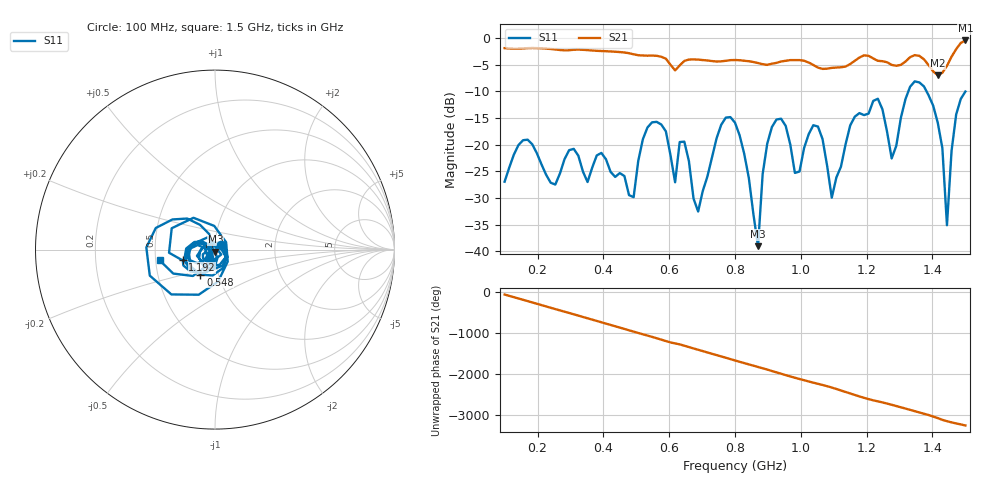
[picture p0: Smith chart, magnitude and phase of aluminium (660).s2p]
! NanoVNA-App
! Date: 2025-09-25 15:00:25
! Start: 100MHz Stop: 1,5GHz Points: 101
! S-Parameter data: F S11 S21 S12 S22
# Hz S RI R 50
!  Frequency  S11_Real  S11_Imag  S21_Real  S21_Imag  S12_Real  S12_Imag  S22_Real  S22_Imag
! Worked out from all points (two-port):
!   101 points, 100 MHz to 1.5 GHz, reference 50 ohm
!   highest |S21| = -0.48 dB at 1.5 GHz (marker M1); lowest = -7.0 dB at 1.416 GHz (marker M2)
!   |S21| within 3 dB of the highest: start of sweep to 571.7 MHz; 1.458 GHz to end of sweep (the widest 2 of 4)
!   lowest |S11| = -39.0 dB at 870 MHz (marker M3), VSWR 1.02, Z = 50.2 - j1.11 ohm
!   |S11| at or under -10 dB: start of sweep to 1.327 GHz; 1.382 GHz to end of sweep
!   S12 and S22 are empty: the file has one direction only
!   S11 on the Smith chart (normalised r, x): 100 MHz: 1.07, +0.06; 548 MHz: 0.82, -0.23; 1.192 GHz: 0.69, -0.08; 1.5 GHz: 0.53, -0.07
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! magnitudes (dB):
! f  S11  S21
! 100 MHz  -27.0  -1.9
! 156 MHz  -19.2  -2.0
! 338 MHz  -25.1  -2.2
! 492 MHz  -29.9  -3.1
! 548 MHz  -15.8  -3.3
! 576 MHz  -16.2  -3.5
! 646 MHz  -19.5  -4.3
! 688 MHz  -32.5  -4.1
! 800 MHz  -15.9  -4.1
! 870 MHz  -39.0  -4.7
! 912 MHz  -16.7  -4.8
! 982 MHz  -25.3  -4.2
! 1.038 GHz  -16.4  -5.1
! 1.094 GHz  -30.0  -5.6
! 1.192 GHz  -14.5  -3.3
! 1.234 GHz  -11.4  -4.3
! 1.276 GHz  -22.6  -5.1
! 1.346 GHz  -8.2  -3.2
! 1.416 GHz  -15.9  -7.0
! 1.444 GHz  -35.1  -5.2
! 1.472 GHz  -14.4  -2.1
! 1.5 GHz  -10.1  -0.5
